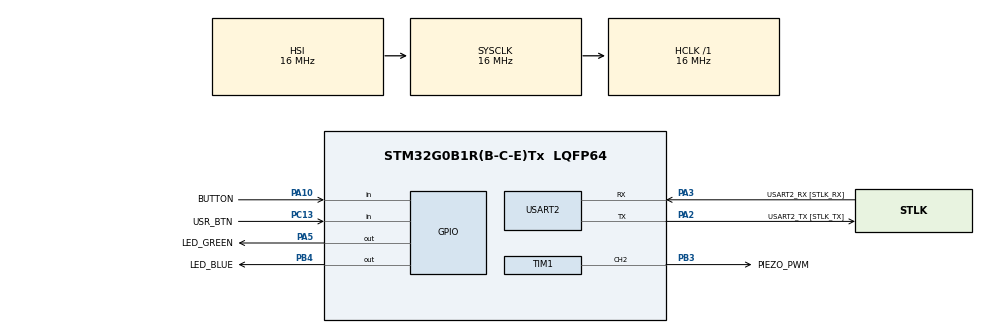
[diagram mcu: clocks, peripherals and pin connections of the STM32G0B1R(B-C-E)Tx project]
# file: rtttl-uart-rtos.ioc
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FREERTOS.Queues01=myLedEventQueue,4,uint8_t,0,Dynamic,NULL,NULL;myPlayerEventQueue,4,uint8_t,0,Dynamic,NULL,NULL
FREERTOS.Tasks01=defaultTask,0,128,StartDefaultTask,Default,NULL,Dynamic,NULL,NULL;myLedTask,-2,64,vLedTask,Default,NULL,Dynamic,NULL,NULL;myButtonTask,-2,64,vButtonTask,Default,NULL,Dynamic,NULL,NULL;myPlayerTask,-3,128,vPlayerTask,Default,NULL,Dynamic,NULL,NULL;myUartRxTask,-3,128,vUartRxTask,Default,NULL,Dynamic,NULL,NULL
FREERTOS.configMINIMAL_STACK_SIZE=64
FREERTOS.configTOTAL_HEAP_SIZE=4096
FREERTOS.configUSE_NEWLIB_REENTRANT=1
Mcu.Family=STM32G0
Mcu.Name=STM32G0B1R(B-C-E)Tx
Mcu.Package=LQFP64
NVIC.TIM6_DAC_LPTIM1_IRQn=true\:3\:0\:false\:false\:true\:false\:false\:true\:true
NVIC.TimeBase=TIM6_DAC_LPTIM1_IRQn
NVIC.TimeBaseIP=TIM6
NVIC.USART2_LPUART2_IRQn=true\:3\:0\:false\:false\:true\:true\:true\:true\:true
PA10.GPIO_Label=BUTTON
PA10.GPIO_PuPd=GPIO_PULLUP
PA10.Signal=GPIO_Input
PA13.GPIO_Label=TMS
PA13.Mode=Serial_Wire
PA13.Signal=SYS_SWDIO
PA14-BOOT0.GPIO_Label=TCK
PA14-BOOT0.Mode=Serial_Wire
PA14-BOOT0.Signal=SYS_SWCLK
PA2.GPIO_Label=USART2_TX [STLK_TX]
PA2.Mode=Asynchronous
PA2.Signal=USART2_TX
PA3.GPIO_Label=USART2_RX [STLK_RX]
PA3.Mode=Asynchronous
PA3.Signal=USART2_RX
PA5.GPIO_Label=LED_GREEN
PA5.GPIO_Speed=GPIO_SPEED_FREQ_HIGH
PA5.Signal=GPIO_Output
PB3.GPIO_Label=PIEZO_PWM
PB3.Signal=S_TIM1_CH2
PB4.GPIO_Label=LED_BLUE
PB4.GPIO_PuPd=GPIO_PULLDOWN
PB4.Signal=GPIO_Output
PC13.GPIO_Label=USR_BTN
PC13.GPIO_PuPd=GPIO_PULLUP
PC13.Signal=GPIO_Input
PC14-OSC32_IN\ (PC14).Mode=LSE-External-Oscillator
PC14-OSC32_IN\ (PC14).Signal=RCC_OSC32_IN
PC15-OSC32_OUT\ (PC15).Mode=LSE-External-Oscillator
PC15-OSC32_OUT\ (PC15).Signal=RCC_OSC32_OUT
PF0-OSC_IN\ (PF0).GPIO_Label=MCO
PF0-OSC_IN\ (PF0).Mode=HSE-External-Clock-Source
PF0-OSC_IN\ (PF0).Signal=RCC_OSC_IN
ProjectManager.HeapSize=0x200
ProjectManager.StackSize=0x400
ProjectManager.TargetToolchain=STM32CubeIDE
RCC.AHBFreq_Value=16000000
RCC.CortexFreq_Value=16000000
RCC.EXTERNAL_CLOCK_VALUE=12288000
RCC.HCLKFreq_Value=16000000
RCC.HSE_VALUE=8000000
RCC.HSI48_VALUE=48000000
RCC.HSI_VALUE=16000000
RCC.SYSCLKFreq_VALUE=16000000
RCC.USBFreq_Value=48000000
RCC.VCOOutputFreq_Value=128000000
SH.S_TIM1_CH2.0=TIM1_CH2,PWM Generation2 CH2
TIM1.Channel-PWM\ Generation2\ CH2=TIM_CHANNEL_2
USART2.VirtualMode-Asynchronous=VM_ASYNC
VP_FREERTOS_VS_CMSIS_V1.Mode=CMSIS_V1
VP_SYS_VS_tim6.Mode=TIM6
board=NUCLEO-G0B1RE

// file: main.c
/* USER CODE BEGIN Header */
/**
  ******************************************************************************
  * @file           : main.c
  * @brief          : Main program body
  ******************************************************************************
  * @attention
  *
  * Copyright (c) 2023 STMicroelectronics.
  * All rights reserved.
  *
  * This software is licensed under terms that can be found in the LICENSE file
  * in the root directory of this software component.
  * If no LICENSE file comes with this software, it is provided AS-IS.
  *
  ******************************************************************************
  */
/* USER CODE END Header */
#include "main.h"
#include "cmsis_os.h"

/* USER CODE BEGIN Includes */
#include <string.h>
#include "rtttl.h"
/* USER CODE END Includes */

/* USER CODE BEGIN PD */
#define BUTTON_PUSH_EVENT			1
#define BUTTON_RELEASE_EVENT	2
#define UART_RX_BUZZER_SIZE 	512
/* USER CODE END PD */

TIM_HandleTypeDef htim1;

UART_HandleTypeDef huart2;

osThreadId defaultTaskHandle;
osThreadId myLedTaskHandle;
osThreadId myButtonTaskHandle;
osThreadId myPlayerTaskHandle;
osThreadId myUartRxTaskHandle;
osMessageQId myLedEventQueueHandle;
osMessageQId myPlayerEventQueueHandle;
/* USER CODE BEGIN PV */
st_rtttl_t rtttl_info;

// Uart vars used for reception
uint8_t aRxBuffer[1];
unsigned char aRxCmdBuffer[UART_RX_BUZZER_SIZE];
uint8_t RxIndex = 0;
__IO ITStatus UartRx = RESET;

const unsigned char melody[] = "TheSimpsons:d=4,o=5,b=160:c.6,e6,f#6,8a6,g.6,e6,c6,8a,8f#,8f#,8f#,2g,8p,8p,8f#,8f#,8f#,8g,a#.,8c6,8c6,8c6,c6\0";
//const unsigned char melody[] = "comicb:d=4,o=5,b=125:8g,16g,16g,16f6,16g6,16g,16g,8g,16g,16g,16f6,16g6,16g,16g,8a#,16a#,16a#,16g#6,16a#6,16a#,16a#,8f,16f,16f,16d#6,16f6,16f,16f,8g,16g,16g,16f6,16g6,16g,16g,8g,16g,16g,16f6,16g6,16g,16g,8a#,16a#,16a#,16g#6,16a#6,16a#,16a#,8c6,16c6,16c6,16a#6,16c7,16c6,16c6\0";
//const unsigned char melody[] = "Chariots of Fire:d=16,o=5,b=85:8c#,f#.,g#.,a#.,4g#,4f,8p,8c#,f#.,g#.,a#.,2g#,8p,8c#,f#.,g#.,a#.,4g#,4f,8p,8f,f#.,f.,c#.,2c#\0";
//const unsigned char melody[] = "Death March:d=4,o=5,b=100:4c,16p,c,8c,32p,2c,d#,8d,32p,d,8c,32p,c,8b4,32p,2c.\0";
//const unsigned char melody[] = "GeorgeofthejungleTheme:d=4,o=6,b=127:f5,p,p,c5,p,p,f5,p,f5,p,f5,a5,p,c,p,f5,p,f5,p,g5,g5,p,a5,p,p,p,f5,f5,f5,f5,g5,g5,p,f5,p,p,p,f";
//const unsigned char melody[] = "OneMoreT:d=16,o=5,b=125:4e,4e,4e,4e,4e,4e,8p,4d#.,4e,4e,4e,4e,4e,4e,8p,4d#.,4e,4e,4e,4e,4e,4e,8p,4d#.,4f#,4f#,4f#,4f#,4f#,4f#,8f#,4d#.,4e,4e,4e,4e,4e,4e,8p,4d#.,4e,4e,4e,4e,4e,4e,8p,4d#.,1f#,2f#";
//const unsigned char melody[] = "The Simpsons:d=4,o=5,b=160:c.6,e6,f#6,8a6,g.6,e6,c6,8a,8f#,8f#,8f#,2g,8p,8p,8f#,8f#,8f#,8g,a#.,8c6,8c6,8c6,c6";
//const unsigned char melody[] = "Indiana:d=4,o=5,b=250:e,8p,8f,8g,8p,1c6,8p.,d,8p,8e,1f,p.,g,8p,8a,8b,8p,1f6,p,a,8p,8b,2c6,2d6,2e6,e,8p,8f,8g,8p,1c6,p,d6,8p,8e6,1f.6,g,8p,8g,e.6,8p,d6,8p,8g,e.6,8p,d6,8p,8g,f.6,8p,e6,8p,8d6,2c6";
//const unsigned char melody[] = "TakeOnMe:d=4,o=4,b=160:8f#5,8f#5,8f#5,8d5,8p,8b,8p,8e5,8p,8e5,8p,8e5,8g#5,8g#5,8a5,8b5,8a5,8a5,8a5,8e5,8p,8d5,8p,8f#5,8p,8f#5,8p,8f#5,8e5,8e5,8f#5,8e5,8f#5,8f#5,8f#5,8d5,8p,8b,8p,8e5,8p,8e5,8p,8e5,8g#5,8g#5,8a5,8b5,8a5,8a5,8a5,8e5,8p,8d5,8p,8f#5,8p,8f#5,8p,8f#5,8e5,8e5";
//const unsigned char melody[] = "Entertainer:d=4,o=5,b=140:8d,8d#,8e,c6,8e,c6,8e,2c.6,8c6,8d6,8d#6,8e6,8c6,8d6,e6,8b,d6,2c6,p,8d,8d#,8e,c6,8e,c6,8e,2c.6,8p,8a,8g,8f#,8a,8c6,e6,8d6,8c6,8a,2d6";
//const unsigned char melody[] = "Muppets:d=4,o=5,b=250:c6,c6,a,b,8a,b,g,p,c6,c6,a,8b,8a,8p,g.,p,e,e,g,f,8e,f,8c6,8c,8d,e,8e,8e,8p,8e,g,2p,c6,c6,a,b,8a,b,g,p,c6,c6,a,8b,a,g.,p,e,e,g,f,8e,f,8c6,8c,8d,e,8e,d,8d,c";
//const unsigned char melody[] = "Xfiles:d=4,o=5,b=125:e,b,a,b,d6,2b.,1p,e,b,a,b,e6,2b.,1p,g6,f#6,e6,d6,e6,2b.,1p,g6,f#6,e6,d6,f#6,2b.,1p,e,b,a,b,d6,2b.,1p,e,b,a,b,e6,2b.,1p,e6,2b.";
//const unsigned char melody[] = "Looney:d=4,o=5,b=140:32p,c6,8f6,8e6,8d6,8c6,a.,8c6,8f6,8e6,8d6,8d#6,e.6,8e6,8e6,8c6,8d6,8c6,8e6,8c6,8d6,8a,8c6,8g,8a#,8a,8f";
//const unsigned char melody[] = "20thCenFox:d=16,o=5,b=140:b,8p,b,b,2b,p,c6,32p,b,32p,c6,32p,b,32p,c6,32p,b,8p,b,b,b,32p,b,32p,b,32p,b,32p,b,32p,b,32p,b,32p,g#,32p,a,32p,b,8p,b,b,2b,4p,8e,8g#,8b,1c#6,8f#,8a,8c#6,1e6,8a,8c#6,8e6,1e6,8b,8g#,8a,2b";
//const unsigned char melody[] = "Bond:d=4,o=5,b=80:32p,16c#6,32d#6,32d#6,16d#6,8d#6,16c#6,16c#6,16c#6,16c#6,32e6,32e6,16e6,8e6,16d#6,16d#6,16d#6,16c#6,32d#6,32d#6,16d#6,8d#6,16c#6,16c#6,16c#6,16c#6,32e6,32e6,16e6,8e6,16d#6,16d6,16c#6,16c#7,c.7,16g#6,16f#6,g#.6";
//const unsigned char melody[] = "MASH:d=8,o=5,b=140:4a,4g,f#,g,p,f#,p,g,p,f#,p,2e.,p,f#,e,4f#,e,f#,p,e,p,4d.,p,f#,4e,d,e,p,d,p,e,p,d,p,2c#.,p,d,c#,4d,c#,d,p,e,p,4f#,p,a,p,4b,a,b,p,a,p,b,p,2a.,4p,a,b,a,4b,a,b,p,2a.,a,4f#,a,b,p,d6,p,4e.6,d6,b,p,a,p,2b";
//const unsigned char melody[] =
//		"StarWars:d=4,o=5,b=45:32p,32f#,32f#,32f#,8b.,8f#.6,32e6,32d#6,32c#6,8b.6,16f#.6,32e6,32d#6,32c#6,8b.6,16f#.6,32e6,32d#6,32e6,8c#.6,32f#,32f#,32f#,8b.,8f#.6,32e6,32d#6,32c#6,8b.6,16f#.6,32e6,32d#6,32c#6,8b.6,16f#.6,32e6,32d#6,32e6,8c#6";
//const unsigned char melody[] = "GoodBad:d=4,o=5,b=56:32p,32a#,32d#6,32a#,32d#6,8a#.,16f#.,16g#.,d#,32a#,32d#6,32a#,32d#6,8a#.,16f#.,16g#.,c#6,32a#,32d#6,32a#,32d#6,8a#.,16f#.,32f.,32d#.,c#,32a#,32d#6,32a#,32d#6,8a#.,16g#.,d#";
//const unsigned char melody[] = "TopGun:d=4,o=4,b=31:32p,16c#,16g#,16g#,32f#,32f,32f#,32f,16d#,16d#,32c#,32d#,16f,32d#,32f,16f#,32f,32c#,16f,d#,16c#,16g#,16g#,32f#,32f,32f#,32f,16d#,16d#,32c#,32d#,16f,32d#,32f,16f#,32f,32c#,g#";
//const unsigned char melody[] = "A-Team:d=8,o=5,b=125:4d#6,a#,2d#6,16p,g#,4a#,4d#.,p,16g,16a#,d#6,a#,f6,2d#6,16p,c#.6,16c6,16a#,g#.,2a#";
//const unsigned char melody[] = "Flinstones:d=4,o=5,b=40:32p,16f6,16a#,16a#6,32g6,16f6,16a#.,16f6,32d#6,32d6,32d6,32d#6,32f6,16a#,16c6,d6,16f6,16a#.,16a#6,32g6,16f6,16a#.,32f6,32f6,32d#6,32d6,32d6,32d#6,32f6,16a#,16c6,a#,16a6,16d.6,16a#6,32a6,32a6,32g6,32f#6,32a6,8g6,16g6,16c.6,32a6,32a6,32g6,32g6,32f6,32e6,32g6,8f6,16f6,16a#.,16a#6,32g6,16f6,16a#.,16f6,32d#6,32d6,32d6,32d#6,32f6,16a#,16c.6,32d6,32d#6,32f6,16a#,16c.6,32d6,32d#6,32f6,16a#6,16c7,8a#.6";
//const unsigned char melody[] = "Jeopardy:d=4,o=6,b=125:c,f,c,f5,c,f,2c,c,f,c,f,a.,8g,8f,8e,8d,8c#,c,f,c,f5,c,f,2c,f.,8d,c,a#5,a5,g5,f5,p,d#,g#,d#,g#5,d#,g#,2d#,d#,g#,d#,g#,c.7,8a#,8g#,8g,8f,8e,d#,g#,d#,g#5,d#,g#,2d#,g#.,8f,d#,c#,c,p,a#5,p,g#.5,d#,g#";
//const unsigned char melody[] = "Gadget:d=16,o=5,b=50:32d#,32f,32f#,32g#,a#,f#,a,f,g#,f#,32d#,32f,32f#,32g#,a#,d#6,4d6,32d#,32f,32f#,32g#,a#,f#,a,f,g#,f#,8d#";
//const unsigned char melody[] = "Smurfs:d=32,o=5,b=200:4c#6,16p,4f#6,p,16c#6,p,8d#6,p,8b,p,4g#,16p,4c#6,p,16a#,p,8f#,p,8a#,p,4g#,4p,g#,p,a#,p,b,p,c6,p,4c#6,16p,4f#6,p,16c#6,p,8d#6,p,8b,p,4g#,16p,4c#6,p,16a#,p,8b,p,8f,p,4f#";
//const unsigned char melody[] = "MahnaMahna:d=16,o=6,b=125:c#,c.,b5,8a#.5,8f.,4g#,a#,g.,4d#,8p,c#,c.,b5,8a#.5,8f.,g#.,8a#.,4g,8p,c#,c.,b5,8a#.5,8f.,4g#,f,g.,8d#.,f,g.,8d#.,f,8g,8d#.,f,8g,d#,8c,a#5,8d#.,8d#.,4d#,8d#.";
//const unsigned char melody[] = "LeisureSuit:d=16,o=6,b=56:f.5,f#.5,g.5,g#5,32a#5,f5,g#.5,a#.5,32f5,g#5,32a#5,g#5,8c#.,a#5,32c#,a5,a#.5,c#.,32a5,a#5,32c#,d#,8e,c#.,f.,f.,f.,f.,f,32e,d#,8d,a#.5,e,32f,e,32f,c#,d#.,c#";
//const unsigned char melody[] = "DangerMo:d=4,o=5,b=355:a.,8g,a,8a,p,8a4,8p,d,p,a.,8g,a,8a,p,8a4,8p,d,p,a,a,a#,a#,a#,a#,a#,a#,a#,c6,2a,p,8a4,8p,d,p,a.,8g,a,8a,p,8a4,8p,d,p,a.,8g,a,8a,p,8a4,8p,d,p,a,a,a#,a#,a#,a#,a#,a#,a#,c6,2d6,p,8a4,8p,d,p,a.,8a,2a#.,8a#4,8p,d#,2p,a#,2a#,2f#,2d#,a#.,8a#,2b.,8b4,8p,e,2p,b,2b,2g,2e,b.,8d6,1e.6,e6,8e6,8e";
//const unsigned char melody[] = "MissionImp:d=16,o=6,b=95:32d,32d#,32d,32d#,32d,32d#,32d,32d#,32d,32d,32d#,32e,32f,32f#,32g,g,8p,g,8p,a#,p,c7,p,g,8p,g,8p,f,p,f#,p,g,8p,g,8p,a#,p,c7,p,g,8p,g,8p,f,p,f#,p,a#,g,2d,32p,a#,g,2c#,32p,a#,g,2c,a#5,8c,2p,32p,a#5,g5,2f#,32p,a#5,g5,2f,32p,a#5,g5,2e,d#,8d";

/* USER CODE END PV */

void SystemClock_Config(void);
static void MX_GPIO_Init(void);
static void MX_USART2_UART_Init(void);
static void MX_TIM1_Init(void);
void StartDefaultTask(void const * argument);
void vLedTask(void const * argument);
void vButtonTask(void const * argument);
void vPlayerTask(void const * argument);
void vUartRxTask(void const * argument);

int main(void)
{

  /* MCU Configuration--------------------------------------------------------*/

  /* Reset of all peripherals, Initializes the Flash interface and the Systick. */
  HAL_Init();

  /* Configure the system clock */
  SystemClock_Config();

  /* Initialize all configured peripherals */
  MX_GPIO_Init();
  MX_USART2_UART_Init();
  MX_TIM1_Init();
  /* USER CODE BEGIN 2 */
	rtttl_info.tim_ref = &htim1;
	rtttl_info.tim_channel = TIM_CHANNEL_2;

  HAL_UART_Receive_IT(&huart2, (uint8_t *)aRxBuffer, 1);

  /* USER CODE END 2 */

  /* Create the queue(s) */
  /* definition and creation of myLedEventQueue */
  osMessageQDef(myLedEventQueue, 4, uint8_t);
  myLedEventQueueHandle = osMessageCreate(osMessageQ(myLedEventQueue), NULL);

  /* definition and creation of myPlayerEventQueue */
  osMessageQDef(myPlayerEventQueue, 4, uint8_t);
  myPlayerEventQueueHandle = osMessageCreate(osMessageQ(myPlayerEventQueue), NULL);

  /* Create the thread(s) */
  /* definition and creation of defaultTask */
  osThreadDef(defaultTask, StartDefaultTask, osPriorityNormal, 0, 128);
  defaultTaskHandle = osThreadCreate(osThread(defaultTask), NULL);

  /* definition and creation of myLedTask */
  osThreadDef(myLedTask, vLedTask, osPriorityLow, 0, 64);
  myLedTaskHandle = osThreadCreate(osThread(myLedTask), NULL);

  /* definition and creation of myButtonTask */
  osThreadDef(myButtonTask, vButtonTask, osPriorityLow, 0, 64);
  myButtonTaskHandle = osThreadCreate(osThread(myButtonTask), NULL);

  /* definition and creation of myPlayerTask */
  osThreadDef(myPlayerTask, vPlayerTask, osPriorityIdle, 0, 128);
  myPlayerTaskHandle = osThreadCreate(osThread(myPlayerTask), NULL);

  /* definition and creation of myUartRxTask */
  osThreadDef(myUartRxTask, vUartRxTask, osPriorityIdle, 0, 128);
  myUartRxTaskHandle = osThreadCreate(osThread(myUartRxTask), NULL);

  /* Start scheduler */
  osKernelStart();

  /* We should never get here as control is now taken by the scheduler */
  /* Infinite loop */
  while (1)
  {

  }
}

void SystemClock_Config(void)
{
  RCC_OscInitTypeDef RCC_OscInitStruct = {0};
  RCC_ClkInitTypeDef RCC_ClkInitStruct = {0};

  /** Configure the main internal regulator output voltage
  */
  HAL_PWREx_ControlVoltageScaling(PWR_REGULATOR_VOLTAGE_SCALE1);

  /** Initializes the RCC Oscillators according to the specified parameters
  * in the RCC_OscInitTypeDef structure.
  */
  RCC_OscInitStruct.OscillatorType = RCC_OSCILLATORTYPE_HSI;
  RCC_OscInitStruct.HSIState = RCC_HSI_ON;
  RCC_OscInitStruct.HSIDiv = RCC_HSI_DIV1;
  RCC_OscInitStruct.HSICalibrationValue = RCC_HSICALIBRATION_DEFAULT;
  RCC_OscInitStruct.PLL.PLLState = RCC_PLL_NONE;
  if (HAL_RCC_OscConfig(&RCC_OscInitStruct) != HAL_OK)
  {
    Error_Handler();
  }

  /** Initializes the CPU, AHB and APB buses clocks
  */
  RCC_ClkInitStruct.ClockType = RCC_CLOCKTYPE_HCLK|RCC_CLOCKTYPE_SYSCLK
                              |RCC_CLOCKTYPE_PCLK1;
  RCC_ClkInitStruct.SYSCLKSource = RCC_SYSCLKSOURCE_HSI;
  RCC_ClkInitStruct.AHBCLKDivider = RCC_SYSCLK_DIV1;
  RCC_ClkInitStruct.APB1CLKDivider = RCC_HCLK_DIV1;

  if (HAL_RCC_ClockConfig(&RCC_ClkInitStruct, FLASH_LATENCY_0) != HAL_OK)
  {
    Error_Handler();
  }
}

static void MX_TIM1_Init(void)
{

  TIM_MasterConfigTypeDef sMasterConfig = {0};
  TIM_OC_InitTypeDef sConfigOC = {0};
  TIM_BreakDeadTimeConfigTypeDef sBreakDeadTimeConfig = {0};

  htim1.Instance = TIM1;
  htim1.Init.Prescaler = 0;
  htim1.Init.CounterMode = TIM_COUNTERMODE_UP;
  htim1.Init.Period = 65535;
  htim1.Init.ClockDivision = TIM_CLOCKDIVISION_DIV1;
  htim1.Init.RepetitionCounter = 0;
  htim1.Init.AutoReloadPreload = TIM_AUTORELOAD_PRELOAD_DISABLE;
  if (HAL_TIM_PWM_Init(&htim1) != HAL_OK)
  {
    Error_Handler();
  }
  sMasterConfig.MasterOutputTrigger = TIM_TRGO_RESET;
  sMasterConfig.MasterOutputTrigger2 = TIM_TRGO2_RESET;
  sMasterConfig.MasterSlaveMode = TIM_MASTERSLAVEMODE_DISABLE;
  if (HAL_TIMEx_MasterConfigSynchronization(&htim1, &sMasterConfig) != HAL_OK)
  {
    Error_Handler();
  }
  sConfigOC.OCMode = TIM_OCMODE_PWM1;
  sConfigOC.Pulse = 0;
  sConfigOC.OCPolarity = TIM_OCPOLARITY_HIGH;
  sConfigOC.OCNPolarity = TIM_OCNPOLARITY_HIGH;
  sConfigOC.OCFastMode = TIM_OCFAST_DISABLE;
  sConfigOC.OCIdleState = TIM_OCIDLESTATE_RESET;
  sConfigOC.OCNIdleState = TIM_OCNIDLESTATE_RESET;
  if (HAL_TIM_PWM_ConfigChannel(&htim1, &sConfigOC, TIM_CHANNEL_2) != HAL_OK)
  {
    Error_Handler();
  }
  sBreakDeadTimeConfig.OffStateRunMode = TIM_OSSR_DISABLE;
  sBreakDeadTimeConfig.OffStateIDLEMode = TIM_OSSI_DISABLE;
  sBreakDeadTimeConfig.LockLevel = TIM_LOCKLEVEL_OFF;
  sBreakDeadTimeConfig.DeadTime = 0;
  sBreakDeadTimeConfig.BreakState = TIM_BREAK_DISABLE;
  sBreakDeadTimeConfig.BreakPolarity = TIM_BREAKPOLARITY_HIGH;
  sBreakDeadTimeConfig.BreakFilter = 0;
  sBreakDeadTimeConfig.BreakAFMode = TIM_BREAK_AFMODE_INPUT;
  sBreakDeadTimeConfig.Break2State = TIM_BREAK2_DISABLE;
  sBreakDeadTimeConfig.Break2Polarity = TIM_BREAK2POLARITY_HIGH;
  sBreakDeadTimeConfig.Break2Filter = 0;
  sBreakDeadTimeConfig.Break2AFMode = TIM_BREAK_AFMODE_INPUT;
  sBreakDeadTimeConfig.AutomaticOutput = TIM_AUTOMATICOUTPUT_DISABLE;
  if (HAL_TIMEx_ConfigBreakDeadTime(&htim1, &sBreakDeadTimeConfig) != HAL_OK)
  {
    Error_Handler();
  }
  HAL_TIM_MspPostInit(&htim1);

}

static void MX_USART2_UART_Init(void)
{

  huart2.Instance = USART2;
  huart2.Init.BaudRate = 115200;
  huart2.Init.WordLength = UART_WORDLENGTH_8B;
  huart2.Init.StopBits = UART_STOPBITS_1;
  huart2.Init.Parity = UART_PARITY_NONE;
  huart2.Init.Mode = UART_MODE_TX_RX;
  huart2.Init.HwFlowCtl = UART_HWCONTROL_NONE;
  huart2.Init.OverSampling = UART_OVERSAMPLING_16;
  huart2.Init.OneBitSampling = UART_ONE_BIT_SAMPLE_DISABLE;
  huart2.Init.ClockPrescaler = UART_PRESCALER_DIV1;
  huart2.AdvancedInit.AdvFeatureInit = UART_ADVFEATURE_NO_INIT;
  if (HAL_UART_Init(&huart2) != HAL_OK)
  {
    Error_Handler();
  }
  if (HAL_UARTEx_SetTxFifoThreshold(&huart2, UART_TXFIFO_THRESHOLD_1_8) != HAL_OK)
  {
    Error_Handler();
  }
  if (HAL_UARTEx_SetRxFifoThreshold(&huart2, UART_RXFIFO_THRESHOLD_1_8) != HAL_OK)
  {
    Error_Handler();
  }
  if (HAL_UARTEx_DisableFifoMode(&huart2) != HAL_OK)
  {
    Error_Handler();
  }

}

static void MX_GPIO_Init(void)
{
  GPIO_InitTypeDef GPIO_InitStruct = {0};

  /* GPIO Ports Clock Enable */
  __HAL_RCC_GPIOC_CLK_ENABLE();
  __HAL_RCC_GPIOF_CLK_ENABLE();
  __HAL_RCC_GPIOA_CLK_ENABLE();
  __HAL_RCC_GPIOB_CLK_ENABLE();

  /*Configure GPIO pin Output Level */
  HAL_GPIO_WritePin(LED_GREEN_GPIO_Port, LED_GREEN_Pin, GPIO_PIN_RESET);

  /*Configure GPIO pin Output Level */
  HAL_GPIO_WritePin(LED_BLUE_GPIO_Port, LED_BLUE_Pin, GPIO_PIN_RESET);

  /*Configure GPIO pin : USR_BTN_Pin */
  GPIO_InitStruct.Pin = USR_BTN_Pin;
  GPIO_InitStruct.Mode = GPIO_MODE_INPUT;
  GPIO_InitStruct.Pull = GPIO_PULLUP;
  HAL_GPIO_Init(USR_BTN_GPIO_Port, &GPIO_InitStruct);

  /*Configure GPIO pin : LED_GREEN_Pin */
  GPIO_InitStruct.Pin = LED_GREEN_Pin;
  GPIO_InitStruct.Mode = GPIO_MODE_OUTPUT_PP;
  GPIO_InitStruct.Pull = GPIO_NOPULL;
  GPIO_InitStruct.Speed = GPIO_SPEED_FREQ_HIGH;
  HAL_GPIO_Init(LED_GREEN_GPIO_Port, &GPIO_InitStruct);

  /*Configure GPIO pin : BUTTON_Pin */
  GPIO_InitStruct.Pin = BUTTON_Pin;
  GPIO_InitStruct.Mode = GPIO_MODE_INPUT;
  GPIO_InitStruct.Pull = GPIO_PULLUP;
  HAL_GPIO_Init(BUTTON_GPIO_Port, &GPIO_InitStruct);

  /*Configure GPIO pin : LED_BLUE_Pin */
  GPIO_InitStruct.Pin = LED_BLUE_Pin;
  GPIO_InitStruct.Mode = GPIO_MODE_OUTPUT_PP;
  GPIO_InitStruct.Pull = GPIO_PULLDOWN;
  GPIO_InitStruct.Speed = GPIO_SPEED_FREQ_LOW;
  HAL_GPIO_Init(LED_BLUE_GPIO_Port, &GPIO_InitStruct);

}

/* USER CODE BEGIN 4 */
/**
 * @brief  Rx Transfer completed callback
 * @param  UartHandle: UART handle
 * @note   This example shows a simple way to report end of DMA Rx transfer, and
 *         you can add your own implementation.
 * @retval None
 */
void HAL_UART_RxCpltCallback(UART_HandleTypeDef *UartHandle)
{
    if ((RxIndex > 0))
    {
        aRxCmdBuffer[RxIndex] = *aRxBuffer;
        RxIndex++;
    }

    if ((aRxBuffer[0] == '$'))
    {
        aRxCmdBuffer[0] = *aRxBuffer;
        RxIndex = 1;
    }

    if (aRxBuffer[0] == '\n')
    {
        UartRx = SET;
        aRxCmdBuffer[RxIndex] = '\0';
        RxIndex = 0;
    }

    if (RxIndex >= (UART_RX_BUZZER_SIZE - 1))
        RxIndex = 0;

    HAL_UART_Receive_IT(&huart2, (uint8_t *)aRxBuffer,
                        1); // Arm uart receive interrupt again
}

/* USER CODE END 4 */

void StartDefaultTask(void const * argument)
{
  for(;;)
  {
    osDelay(1);
  }
}

void vLedTask(void const * argument)
{
  /* USER CODE BEGIN vLedTask */
	osEvent event;
	uint8_t curr_data = 0;

	/* Infinite loop */
	for (;;) {
		/*wait until kernel message*/
		event = osMessageGet(myLedEventQueueHandle, 10);

		/*if we are here, then receive message*/
		if (event.status == osEventMessage) {
			// get value
			curr_data = (uint8_t) event.value.v;

			if (curr_data == BUTTON_PUSH_EVENT)
				HAL_GPIO_WritePin(LED_BLUE_GPIO_Port, LED_BLUE_Pin, GPIO_PIN_SET);

			if (curr_data == BUTTON_RELEASE_EVENT)
				HAL_GPIO_WritePin(LED_BLUE_GPIO_Port, LED_BLUE_Pin, GPIO_PIN_RESET);
		}
	}
  /* USER CODE END vLedTask */
}

void vButtonTask(void const * argument)
{
  /* USER CODE BEGIN vButtonTask */
	uint8_t curr_data = 0;
	uint8_t prev_data = 0;

	/* Infinite loop */
	for (;;) {
		osDelay(100);
		curr_data = HAL_GPIO_ReadPin(BUTTON_GPIO_Port, BUTTON_Pin);

		if (curr_data == GPIO_PIN_RESET && prev_data == GPIO_PIN_SET) {
			osMessagePut(myLedEventQueueHandle, (uint32_t) BUTTON_PUSH_EVENT, 0);
			rtttl_info.tune_data = &melody[0];
			osMessagePut(myPlayerEventQueueHandle, (uint32_t) BUTTON_PUSH_EVENT, 0);
		}

		if (curr_data == GPIO_PIN_SET && prev_data == GPIO_PIN_RESET) {
			osMessagePut(myLedEventQueueHandle, (uint32_t) BUTTON_RELEASE_EVENT, 0);
		}

		prev_data = curr_data;
	}
  /* USER CODE END vButtonTask */
}

void vPlayerTask(void const * argument)
{
  /* USER CODE BEGIN vPlayerTask */
	osEvent event;
	uint8_t curr_data = 0;

	/* Infinite loop */
	for (;;) {
		/*wait until kernel message*/
		event = osMessageGet(myPlayerEventQueueHandle, 10);

		/*if we are here, then receive message*/
		if (event.status == osEventMessage) {
			// get value
			curr_data = (uint8_t) event.value.v;

			if (curr_data == BUTTON_PUSH_EVENT) {
				if (rtttl_info.playing) {
					rtttl_stop(&rtttl_info);
				} else {
					rtttl_start(&rtttl_info);
				}
			}
		} else {
			// no new queue message received, keep playing if player is enabled
			rtttl_play(&rtttl_info);
		}
	}
  /* USER CODE END vPlayerTask */
}

void vUartRxTask(void const * argument)
{
  /* USER CODE BEGIN vUartRxTask */

  /* Infinite loop */
  for(;;)
  {
    osDelay(100);

	  if (UartRx == SET)
	  {
		  // Process received command!
	  	rtttl_info.tune_data = &aRxCmdBuffer[1];
			osMessagePut(myPlayerEventQueueHandle, (uint32_t) BUTTON_PUSH_EVENT, 0);
			UartRx = RESET;
	  }

  }
  /* USER CODE END vUartRxTask */
}

void HAL_TIM_PeriodElapsedCallback(TIM_HandleTypeDef *htim)
{
  if (htim->Instance == TIM6) {
    HAL_IncTick();
  }
}

void Error_Handler(void)
{
  __disable_irq();
  while (1)
  {
  }
}
